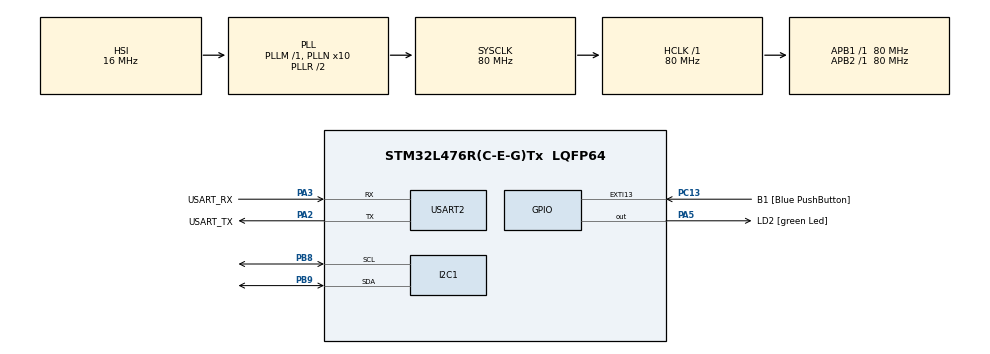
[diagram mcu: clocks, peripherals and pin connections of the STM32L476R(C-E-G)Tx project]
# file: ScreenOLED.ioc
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I2C1.Timing=0x10D19CE4
Mcu.Family=STM32L4
Mcu.Name=STM32L476R(C-E-G)Tx
Mcu.Package=LQFP64
NVIC.EXTI15_10_IRQn=true\:0\:0\:false\:false\:true\:true\:true\:true
NVIC.PriorityGroup=NVIC_PRIORITYGROUP_4
PA13\ (JTMS-SWDIO).GPIO_Label=TMS
PA13\ (JTMS-SWDIO).Mode=Serial_Wire
PA13\ (JTMS-SWDIO).Signal=SYS_JTMS-SWDIO
PA14\ (JTCK-SWCLK).GPIO_Label=TCK
PA14\ (JTCK-SWCLK).Mode=Serial_Wire
PA14\ (JTCK-SWCLK).Signal=SYS_JTCK-SWCLK
PA2.GPIO_Label=USART_TX
PA2.GPIO_Mode=GPIO_MODE_AF_PP
PA2.GPIO_PuPd=GPIO_NOPULL
PA2.GPIO_Speed=GPIO_SPEED_FREQ_VERY_HIGH
PA2.Mode=Asynchronous
PA2.Signal=USART2_TX
PA3.GPIO_Label=USART_RX
PA3.GPIO_Mode=GPIO_MODE_AF_PP
PA3.GPIO_PuPd=GPIO_NOPULL
PA3.GPIO_Speed=GPIO_SPEED_FREQ_VERY_HIGH
PA3.Mode=Asynchronous
PA3.Signal=USART2_RX
PA5.GPIO_Label=LD2 [green Led]
PA5.GPIO_ModeDefaultOutputPP=GPIO_MODE_OUTPUT_PP
PA5.GPIO_PuPd=GPIO_NOPULL
PA5.GPIO_Speed=GPIO_SPEED_FREQ_LOW
PA5.Signal=GPIO_Output
PB14.Signal=I2C2_SDA
PB3\ (JTDO-TRACESWO).GPIO_Label=SWO
PB3\ (JTDO-TRACESWO).Signal=SYS_JTDO-SWO
PB8.Mode=I2C
PB8.Signal=I2C1_SCL
PB9.Mode=I2C
PB9.Signal=I2C1_SDA
PC13.GPIO_Label=B1 [Blue PushButton]
PC13.GPIO_ModeDefaultEXTI=GPIO_MODE_IT_FALLING
PC13.GPIO_PuPd=GPIO_NOPULL
PC13.Signal=GPXTI13
PC14-OSC32_IN\ (PC14).Mode=LSE-External-Oscillator
PC14-OSC32_IN\ (PC14).Signal=RCC_OSC32_IN
PC15-OSC32_OUT\ (PC15).Mode=LSE-External-Oscillator
PC15-OSC32_OUT\ (PC15).Signal=RCC_OSC32_OUT
PH0-OSC_IN\ (PH0).Signal=RCC_OSC_IN
PH1-OSC_OUT\ (PH1).Signal=RCC_OSC_OUT
ProjectManager.HeapSize=0x200
ProjectManager.StackSize=0x400
ProjectManager.TargetToolchain=STM32CubeIDE
RCC.ADCFreq_Value=64000000
RCC.AHBFreq_Value=80000000
RCC.APB1Freq_Value=80000000
RCC.APB1TimFreq_Value=80000000
RCC.APB2Freq_Value=80000000
RCC.APB2TimFreq_Value=80000000
RCC.CortexFreq_Value=80000000
RCC.HCLKFreq_Value=80000000
RCC.HSE_VALUE=8000000
RCC.HSI_VALUE=16000000
RCC.MSI_VALUE=4000000
RCC.PLLN=10
RCC.PLLSourceVirtual=RCC_PLLSOURCE_HSI
RCC.PREFETCH_ENABLE=1
RCC.SYSCLKFreq_VALUE=80000000
RCC.SYSCLKSource=RCC_SYSCLKSOURCE_PLLCLK
RCC.USBFreq_Value=64000000
RCC.VCOOutputFreq_Value=160000000
USART2.VirtualMode-Asynchronous=VM_ASYNC
board=NUCLEO-L476RG

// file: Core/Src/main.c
/* USER CODE BEGIN Header */
/**
  ******************************************************************************
  * @file           : main.c
  * @brief          : Main program body
  ******************************************************************************
  * @attention
  *
  * Copyright (c) 2025 STMicroelectronics.
  * All rights reserved.
  *
  * This software is licensed under terms that can be found in the LICENSE file
  * in the root directory of this software component.
  * If no LICENSE file comes with this software, it is provided AS-IS.
  *
  ******************************************************************************
  */
/* USER CODE END Header */
#include "main.h"
#include "i2c.h"
#include "usart.h"
#include "gpio.h"

/* USER CODE BEGIN Includes */
#include "ssd1306.h"
#include "ssd1306_fonts.h"
#include "ssd1306_tests.h"
#include "oled.h"
/* USER CODE END Includes */

/* USER CODE BEGIN PV */
extern const unsigned char garfield_128x64;
/* USER CODE END PV */

void SystemClock_Config(void);

int main(void)
{

  /* MCU Configuration--------------------------------------------------------*/

  /* Reset of all peripherals, Initializes the Flash interface and the Systick. */
  HAL_Init();

  /* Configure the system clock */
  SystemClock_Config();

  /* Initialize all configured peripherals */
  MX_GPIO_Init();
  MX_USART2_UART_Init();
  MX_I2C1_Init();
  /* USER CODE BEGIN 2 */
  ssd1306_Init();
////  ssd1306_Fill(White);
////  ssd1306_UpdateScreen();
  Init_bitmap();
//  ssd1306_SetCursor(10,20);
//  ssd1306_WriteString("Init...", Font_16x26, White);
//  ssd1306_UpdateScreen();
//  HAL_Delay(200);
  ssd1306_SetCursor(20,20);
  ssd1306_Fill(Black);
  ssd1306_WriteString("Ready", Font_16x26, White);
  ssd1306_UpdateScreen();
  HAL_Delay(100);
//  //ssd1306_TestBorder();
//  ssd1306_TestFPS();
//  ssd1306_UpdateScreen();
//  ssd1306_TestDrawBitmap();
//  ssd1306_DrawBitmap(0,0,garfield_128x64,128,64,Black);
//  ssd1306_TestAll();

  /* USER CODE END 2 */

  /* Infinite loop */
  while (1)
  {

    /* USER CODE BEGIN 3 */
      displayMenu();
      checkMenuTimeout();
      HAL_Delay(50);
//	  screen_stats();
  }
  /* USER CODE END 3 */
}

void SystemClock_Config(void)
{
  RCC_OscInitTypeDef RCC_OscInitStruct = {0};
  RCC_ClkInitTypeDef RCC_ClkInitStruct = {0};

  /** Configure the main internal regulator output voltage
  */
  if (HAL_PWREx_ControlVoltageScaling(PWR_REGULATOR_VOLTAGE_SCALE1) != HAL_OK)
  {
    Error_Handler();
  }

  /** Initializes the RCC Oscillators according to the specified parameters
  * in the RCC_OscInitTypeDef structure.
  */
  RCC_OscInitStruct.OscillatorType = RCC_OSCILLATORTYPE_HSI;
  RCC_OscInitStruct.HSIState = RCC_HSI_ON;
  RCC_OscInitStruct.HSICalibrationValue = RCC_HSICALIBRATION_DEFAULT;
  RCC_OscInitStruct.PLL.PLLState = RCC_PLL_ON;
  RCC_OscInitStruct.PLL.PLLSource = RCC_PLLSOURCE_HSI;
  RCC_OscInitStruct.PLL.PLLM = 1;
  RCC_OscInitStruct.PLL.PLLN = 10;
  RCC_OscInitStruct.PLL.PLLP = RCC_PLLP_DIV7;
  RCC_OscInitStruct.PLL.PLLQ = RCC_PLLQ_DIV2;
  RCC_OscInitStruct.PLL.PLLR = RCC_PLLR_DIV2;
  if (HAL_RCC_OscConfig(&RCC_OscInitStruct) != HAL_OK)
  {
    Error_Handler();
  }

  /** Initializes the CPU, AHB and APB buses clocks
  */
  RCC_ClkInitStruct.ClockType = RCC_CLOCKTYPE_HCLK|RCC_CLOCKTYPE_SYSCLK
                              |RCC_CLOCKTYPE_PCLK1|RCC_CLOCKTYPE_PCLK2;
  RCC_ClkInitStruct.SYSCLKSource = RCC_SYSCLKSOURCE_PLLCLK;
  RCC_ClkInitStruct.AHBCLKDivider = RCC_SYSCLK_DIV1;
  RCC_ClkInitStruct.APB1CLKDivider = RCC_HCLK_DIV1;
  RCC_ClkInitStruct.APB2CLKDivider = RCC_HCLK_DIV1;

  if (HAL_RCC_ClockConfig(&RCC_ClkInitStruct, FLASH_LATENCY_4) != HAL_OK)
  {
    Error_Handler();
  }
}

void Error_Handler(void)
{
  __disable_irq();
  while (1)
  {
  }
}
